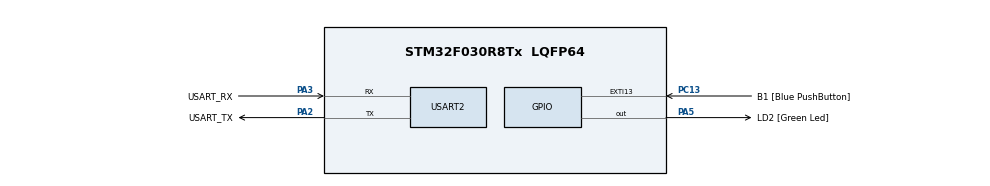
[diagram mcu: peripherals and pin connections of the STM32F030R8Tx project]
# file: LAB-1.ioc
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Mcu.Family=STM32F0
Mcu.Name=STM32F030R8Tx
Mcu.Package=LQFP64
PA13.GPIO_Label=TMS
PA13.Mode=Serial_Wire
PA13.Signal=SYS_SWDIO
PA14.GPIO_Label=TCK
PA14.Mode=Serial_Wire
PA14.Signal=SYS_SWCLK
PA2.GPIO_Label=USART_TX
PA2.GPIO_Mode=GPIO_MODE_AF_PP
PA2.GPIO_PuPd=GPIO_NOPULL
PA2.GPIO_Speed=GPIO_SPEED_FREQ_LOW
PA2.Mode=Asynchronous
PA2.Signal=USART2_TX
PA3.GPIO_Label=USART_RX
PA3.GPIO_Mode=GPIO_MODE_AF_PP
PA3.GPIO_PuPd=GPIO_NOPULL
PA3.GPIO_Speed=GPIO_SPEED_FREQ_LOW
PA3.Mode=Asynchronous
PA3.Signal=USART2_RX
PA5.GPIO_Label=LD2 [Green Led]
PA5.GPIO_Mode=GPIO_MODE_OUTPUT_PP
PA5.GPIO_PuPd=GPIO_NOPULL
PA5.GPIO_Speed=GPIO_SPEED_FREQ_LOW
PA5.Signal=GPIO_Output
PC13.GPIO_Label=B1 [Blue PushButton]
PC13.GPIO_ModeDefaultEXTI=GPIO_MODE_IT_FALLING
PC13.Signal=GPXTI13
PC14-OSC32_IN.Mode=LSE-External-Oscillator
PC14-OSC32_IN.Signal=RCC_OSC32_IN
PC15-OSC32_OUT.Mode=LSE-External-Oscillator
PC15-OSC32_OUT.Signal=RCC_OSC32_OUT
PF0-OSC_IN.Mode=HSE-External-Clock-Source
PF0-OSC_IN.Signal=RCC_OSC_IN
PF1-OSC_OUT.Signal=RCC_OSC_OUT
ProjectManager.HeapSize=0x200
ProjectManager.StackSize=0x400
ProjectManager.TargetToolchain=STM32CubeIDE
RCC.AHBFreq_Value=48000000
RCC.APB1Freq_Value=48000000
RCC.APB1TimFreq_Value=48000000
RCC.HCLKFreq_Value=48000000
RCC.PLLMUL=RCC_PLL_MUL12
RCC.SYSCLKFreq_VALUE=48000000
RCC.SYSCLKSource=RCC_SYSCLKSOURCE_PLLCLK
USART2.VirtualMode-Asynchronous=VM_ASYNC
board=NUCLEO-F030R8

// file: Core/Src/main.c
/* USER CODE BEGIN Header */
/**
  ******************************************************************************
  * @file           : main.c
  * @brief          : Main program body
  ******************************************************************************
  * @attention
  *
  * Copyright (c) 2025 STMicroelectronics.
  * All rights reserved.
  *
  * This software is licensed under terms that can be found in the LICENSE file
  * in the root directory of this software component.
  * If no LICENSE file comes with this software, it is provided AS-IS.
  *
  ******************************************************************************
  */
/* USER CODE END Header */
#include "main.h"

/* USER CODE BEGIN PD */
#define ARR
/* USER CODE END PD */

void SystemClock_Config(void);
static void MX_GPIO_Init(void);
static void MX_USART2_UART_Init(void);

int main(void)
{

  /* MCU Configuration--------------------------------------------------------*/

  /* Reset of all peripherals, Initializes the Flash interface and the Systick. */
  LL_APB1_GRP2_EnableClock(LL_APB1_GRP2_PERIPH_SYSCFG);
  LL_APB1_GRP1_EnableClock(LL_APB1_GRP1_PERIPH_PWR);

  /* Configure the system clock */
  SystemClock_Config();

  /* Initialize all configured peripherals */
  MX_GPIO_Init();
  MX_USART2_UART_Init();

  /* Infinite loop */
  while (1)
  {

    /* USER CODE BEGIN 3 */
#ifdef ARR
	  uint8_t arr[32] = {1,0,1,0,1,0,0,1,1,1,0,1,1,1,0,1,1,1,0,0,1,0,1,0,1,0,0,0,0,0,0,0};
	  for(uint8_t i = sizeof(arr)-1; i >= 0; i--)
	  {
		  if(arr[i] > 0)
		  {
			  LL_GPIO_SetOutputPin(LD2_GPIO_Port, LD2_Pin);
		  } else {
			  LL_GPIO_ResetOutputPin(LD2_GPIO_Port, LD2_Pin);
		  }
		  LL_mDelay(200);
	  }
#else
	  uint32_t var = 0b10101001110111011100101010000000;
	  for(int8_t i = (sizeof(var)*8)-1; i >= 0; i--)
	  {
		  if(var & (1ul << i))
		  {
			  LL_GPIO_SetOutputPin(LD2_GPIO_Port, LD2_Pin);
		  } else {
			  LL_GPIO_ResetOutputPin(LD2_GPIO_Port, LD2_Pin);
		  }
		  LL_mDelay(200);
	  }
#endif
  }
  /* USER CODE END 3 */
}

void SystemClock_Config(void)
{
  LL_FLASH_SetLatency(LL_FLASH_LATENCY_1);
  while(LL_FLASH_GetLatency() != LL_FLASH_LATENCY_1)
  {
  }
  LL_RCC_HSI_Enable();

   /* Wait till HSI is ready */
  while(LL_RCC_HSI_IsReady() != 1)
  {

  }
  LL_RCC_HSI_SetCalibTrimming(16);
  LL_RCC_PLL_ConfigDomain_SYS(LL_RCC_PLLSOURCE_HSI_DIV_2, LL_RCC_PLL_MUL_12);
  LL_RCC_PLL_Enable();

   /* Wait till PLL is ready */
  while(LL_RCC_PLL_IsReady() != 1)
  {

  }
  LL_RCC_SetAHBPrescaler(LL_RCC_SYSCLK_DIV_1);
  LL_RCC_SetAPB1Prescaler(LL_RCC_APB1_DIV_1);
  LL_RCC_SetSysClkSource(LL_RCC_SYS_CLKSOURCE_PLL);

   /* Wait till System clock is ready */
  while(LL_RCC_GetSysClkSource() != LL_RCC_SYS_CLKSOURCE_STATUS_PLL)
  {

  }
  LL_Init1msTick(48000000);
  LL_SetSystemCoreClock(48000000);
}

static void MX_USART2_UART_Init(void)
{

  LL_USART_InitTypeDef USART_InitStruct = {0};

  LL_GPIO_InitTypeDef GPIO_InitStruct = {0};

  /* Peripheral clock enable */
  LL_APB1_GRP1_EnableClock(LL_APB1_GRP1_PERIPH_USART2);

  LL_AHB1_GRP1_EnableClock(LL_AHB1_GRP1_PERIPH_GPIOA);
  /**USART2 GPIO Configuration
  PA2   ------> USART2_TX
  PA3   ------> USART2_RX
  */
  GPIO_InitStruct.Pin = USART_TX_Pin;
  GPIO_InitStruct.Mode = LL_GPIO_MODE_ALTERNATE;
  GPIO_InitStruct.Speed = LL_GPIO_SPEED_FREQ_LOW;
  GPIO_InitStruct.OutputType = LL_GPIO_OUTPUT_PUSHPULL;
  GPIO_InitStruct.Pull = LL_GPIO_PULL_NO;
  GPIO_InitStruct.Alternate = LL_GPIO_AF_1;
  LL_GPIO_Init(USART_TX_GPIO_Port, &GPIO_InitStruct);

  GPIO_InitStruct.Pin = USART_RX_Pin;
  GPIO_InitStruct.Mode = LL_GPIO_MODE_ALTERNATE;
  GPIO_InitStruct.Speed = LL_GPIO_SPEED_FREQ_LOW;
  GPIO_InitStruct.OutputType = LL_GPIO_OUTPUT_PUSHPULL;
  GPIO_InitStruct.Pull = LL_GPIO_PULL_NO;
  GPIO_InitStruct.Alternate = LL_GPIO_AF_1;
  LL_GPIO_Init(USART_RX_GPIO_Port, &GPIO_InitStruct);

  USART_InitStruct.BaudRate = 38400;
  USART_InitStruct.DataWidth = LL_USART_DATAWIDTH_8B;
  USART_InitStruct.StopBits = LL_USART_STOPBITS_1;
  USART_InitStruct.Parity = LL_USART_PARITY_NONE;
  USART_InitStruct.TransferDirection = LL_USART_DIRECTION_TX_RX;
  USART_InitStruct.HardwareFlowControl = LL_USART_HWCONTROL_NONE;
  USART_InitStruct.OverSampling = LL_USART_OVERSAMPLING_16;
  LL_USART_Init(USART2, &USART_InitStruct);
  LL_USART_DisableIT_CTS(USART2);
  LL_USART_ConfigAsyncMode(USART2);
  LL_USART_Enable(USART2);

}

static void MX_GPIO_Init(void)
{
  LL_EXTI_InitTypeDef EXTI_InitStruct = {0};
  LL_GPIO_InitTypeDef GPIO_InitStruct = {0};

  /* GPIO Ports Clock Enable */
  LL_AHB1_GRP1_EnableClock(LL_AHB1_GRP1_PERIPH_GPIOC);
  LL_AHB1_GRP1_EnableClock(LL_AHB1_GRP1_PERIPH_GPIOF);
  LL_AHB1_GRP1_EnableClock(LL_AHB1_GRP1_PERIPH_GPIOA);

  /**/
  LL_GPIO_ResetOutputPin(LD2_GPIO_Port, LD2_Pin);

  /**/
  LL_SYSCFG_SetEXTISource(LL_SYSCFG_EXTI_PORTC, LL_SYSCFG_EXTI_LINE13);

  /**/
  LL_GPIO_SetPinPull(B1_GPIO_Port, B1_Pin, LL_GPIO_PULL_NO);

  /**/
  LL_GPIO_SetPinMode(B1_GPIO_Port, B1_Pin, LL_GPIO_MODE_INPUT);

  /**/
  EXTI_InitStruct.Line_0_31 = LL_EXTI_LINE_13;
  EXTI_InitStruct.LineCommand = ENABLE;
  EXTI_InitStruct.Mode = LL_EXTI_MODE_IT;
  EXTI_InitStruct.Trigger = LL_EXTI_TRIGGER_FALLING;
  LL_EXTI_Init(&EXTI_InitStruct);

  /**/
  GPIO_InitStruct.Pin = LD2_Pin;
  GPIO_InitStruct.Mode = LL_GPIO_MODE_OUTPUT;
  GPIO_InitStruct.Speed = LL_GPIO_SPEED_FREQ_LOW;
  GPIO_InitStruct.OutputType = LL_GPIO_OUTPUT_PUSHPULL;
  GPIO_InitStruct.Pull = LL_GPIO_PULL_NO;
  LL_GPIO_Init(LD2_GPIO_Port, &GPIO_InitStruct);

}

void Error_Handler(void)
{
  __disable_irq();
  while (1)
  {
  }
}
